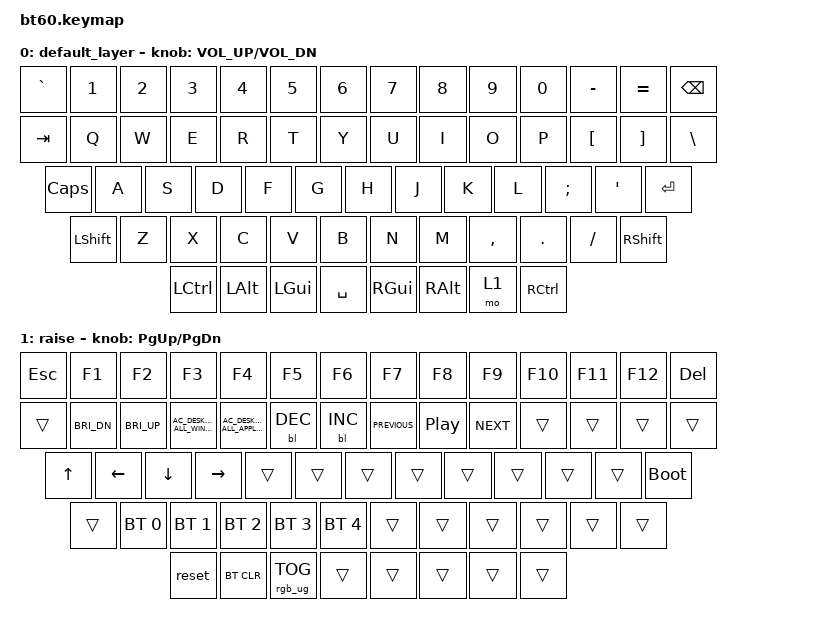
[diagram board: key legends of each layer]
#include <behaviors.dtsi>
#include <dt-bindings/zmk/keys.h>
#include <dt-bindings/zmk/bt.h>
#include <dt-bindings/zmk/rgb.h>
#include <dt-bindings/zmk/backlight.h>

/ {
	keymap {
		compatible = "zmk,keymap";

		default_layer {
				// ------------------------------------------------------------------------------------------
				// |  `  |  1  |  2  |  3  |  4  |  5  |  6  |  7  |  8  |  9  |  0  |  -  |  =  |   BKSP 
				// | TAB  |  Q  |  W  |  E  |  R  |  T  |  Y  |  U  |  I  |  O  |  P  |  [  |  ]  |   |
				// | CAPS  |  A  |  S  |  D  |  F  |  G  |  H  |  J  |  K  |  L  |  ;  |  '  |     ENTER
				// |  SHIFT    |  Z  |  X  |  C  |  V  |  B  |  N  |  M  |  ,  |  .  | /   |      SHIFT
				// |  CTL  |  ALT  |  GUI  |            SPACE               | GUI | ALT    |  1    |  CTRL
				// ------------------------------------------------------------------------------------------
			bindings = <

				&kp GRAVE &kp N1 &kp N2 &kp N3 &kp N4 &kp N5 &kp N6 &kp N7 &kp  N8   &kp  N9 &kp  N0  &kp MINUS &kp EQUAL &kp BSPC
				&kp TAB  &kp Q  &kp W  &kp E  &kp R  &kp T  &kp Y  &kp U  &kp I  &kp O  &kp P  &kp LBKT &kp RBKT  &kp BSLH
				&kp CAPS  &kp A  &kp S  &kp D  &kp F  &kp G  &kp H  &kp J  &kp K  &kp L &kp SEMI &kp SQT  &kp RET
				&kp LSHFT  &kp Z  &kp X  &kp C  &kp V  &kp B  &kp N  &kp M  &kp COMMA &kp DOT &kp FSLH  &kp RSHFT
				&kp LCTRL &kp LALT &kp LGUI            &kp SPACE                          &kp RGUI  &kp RALT &mo 1    &kp RCTRL
			>;
			sensor-bindings = <&inc_dec_kp C_VOL_UP C_VOL_DN>;
		};
		raise {
			bindings = <
				&kp ESC &kp F1 &kp F2 &kp F3 &kp F4 &kp F5 &kp F6 &kp F7 &kp F8 &kp F9 &kp F10 &kp F11 &kp F12 &kp DEL 
				&trans &kp C_BRI_DN &kp C_BRI_UP &kp C_AC_DESKTOP_SHOW_ALL_WINDOWS &kp C_AC_DESKTOP_SHOW_ALL_APPLICATIONS &bl BL_DEC &bl BL_INC &kp C_PREVIOUS &kp C_PLAY_PAUSE &kp C_NEXT &trans &trans &trans &trans 
				&kp UP &kp LEFT &kp DOWN &kp RIGHT &trans &trans &trans &trans &trans &trans &trans &trans &bootloader
				&trans &bt BT_SEL 0 &bt BT_SEL 1 &bt BT_SEL 2 &bt BT_SEL 3 &bt BT_SEL 4 &trans &trans &trans &trans &trans &trans
				&reset &bt BT_CLR  &rgb_ug RGB_TOG              &trans                            &trans   &trans   &trans &trans
			>;
			sensor-bindings = <&inc_dec_kp PAGE_UP PAGE_DOWN>;
		};
	};
};
